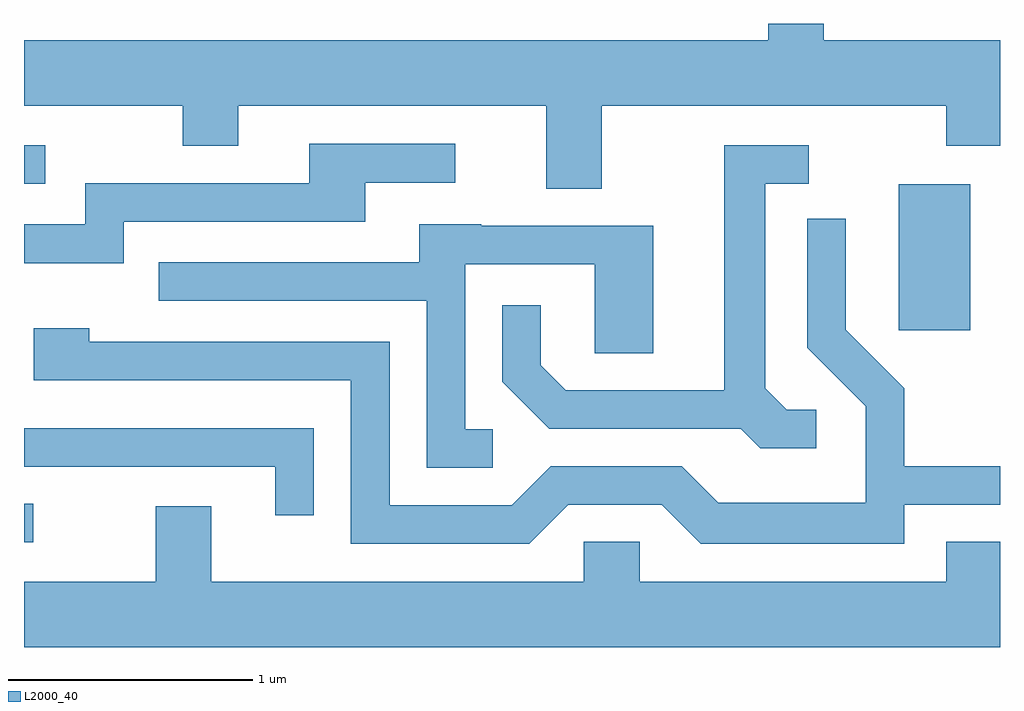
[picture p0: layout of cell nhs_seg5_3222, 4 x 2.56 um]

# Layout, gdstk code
import gdstk
lib = gdstk.Library(unit=1e-6, precision=1e-09)
def R(c, l, rs):  # rectangles x0, y0, x1, y1
    for r in rs: c.add(gdstk.rectangle(r[:2], r[2:], *l))
def P(c, l, *ps):  # polygons
    for p in ps: c.add(gdstk.Polygon(p, *l))
L2000_40 = (2000, 40)

nhs_seg5_3222 = lib.new_cell('nhs_seg5_3222')
R(nhs_seg5_3222, L2000_40, [(281.611,1403.946,281.648,1404.104), (285.196,1404.816,285.489,1405.414), (281.611,1405.416,281.698,1405.574)])
P(nhs_seg5_3222, L2000_40, [(283.979,1405.736),(285.391,1405.736),(285.391,1405.571),(285.611,1405.571),(285.611,1406.004),(284.889,1406.004),(284.889,1406.072),(284.661,1406.072),(284.661,1406.004),(281.611,1406.004),(281.611,1405.736),(282.261,1405.736),(282.261,1405.571),(282.489,1405.571),(282.489,1405.736),(283.751,1405.736),(283.751,1405.396),(283.979,1405.396)],
  [(282.019,1405.261),(283.009,1405.261),(283.009,1405.421),(283.378,1405.421),(283.378,1405.579),(282.781,1405.579),(282.781,1405.419),(281.861,1405.419),(281.861,1405.249),(281.611,1405.249),(281.611,1405.091),(282.019,1405.091)],
  [(284.858,1404.489),(284.737,1404.489),(284.649,1404.577),(284.649,1405.416),(284.828,1405.416),(284.828,1405.574),(284.481,1405.574),(284.481,1404.569),(283.832,1404.569),(283.729,1404.672),(283.729,1404.918),(283.571,1404.918),(283.571,1404.604),(283.764,1404.411),(284.549,1404.411),(284.629,1404.331),(284.858,1404.331)],
  [(283.842,1404.101),(284.224,1404.101),(284.384,1403.941),(285.219,1403.941),(285.219,1404.101),(285.611,1404.101),(285.611,1404.259),(285.219,1404.259),(285.219,1404.577),(284.979,1404.817),(284.979,1405.273),(284.821,1405.273),(284.821,1404.744),(285.061,1404.504),(285.061,1404.109),(284.457,1404.109),(284.307,1404.259),(283.769,1404.259),(283.609,1404.099),(283.109,1404.099),(283.109,1404.769),(281.879,1404.769),(281.879,1404.824),(281.651,1404.824),(281.651,1404.611),(282.951,1404.611),(282.951,1403.941),(283.682,1403.941)],
  [(283.533,1404.409),(283.419,1404.409),(283.419,1405.086),(283.951,1405.086),(283.951,1404.721),(284.189,1404.721),(284.189,1405.244),(283.485,1405.244),(283.485,1405.249),(283.231,1405.249),(283.231,1405.094),(282.163,1405.094),(282.163,1404.936),(283.261,1404.936),(283.261,1404.251),(283.533,1404.251)],
  [(282.799,1404.414),(281.611,1404.414),(281.611,1404.256),(282.641,1404.256),(282.641,1404.058),(282.799,1404.058)],
  [(285.611,1403.949),(285.391,1403.949),(285.391,1403.784),(284.134,1403.784),(284.134,1403.949),(283.906,1403.949),(283.906,1403.784),(282.379,1403.784),(282.379,1404.094),(282.151,1404.094),(282.151,1403.784),(281.611,1403.784),(281.611,1403.516),(285.611,1403.516)])

lib.write_gds('nhs_seg5_3222.gds')
